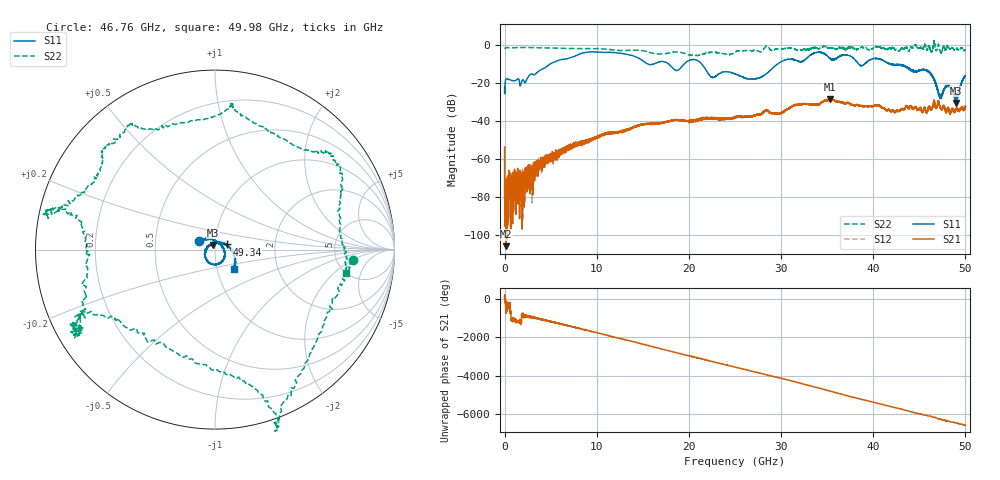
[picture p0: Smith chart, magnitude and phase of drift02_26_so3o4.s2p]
!Created with skrf (http://scikit-rf.org).
# Hz S RI R 50.0
!freq ReS11 ImS11 ReS21 ImS21 ReS12 ImS12 ReS22 ImS22
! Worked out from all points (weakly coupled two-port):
!   10001 points, 300 kHz to 50 GHz, reference 50 ohm
!   highest |S21| = -28.54 dB at 35.32 GHz (marker M1); lowest = -106.1 dB at 125.3 MHz (marker M2)
!   lowest |S11| = -30.7 dB at 49.02 GHz (marker M3), VSWR 1.06, Z = 48.6 + j2.55 ohm
!   |S11| at or under -10 dB: start of sweep to 4.956 GHz; 21.38 GHz to 29.63 GHz (8.253 GHz wide, 32.4 % of centre); 41.87 GHz to end of sweep (the widest 3 of 11)
!   |S22| runs from -5.7 to 2.4 dB; largest |S21 - S12| = 0.004
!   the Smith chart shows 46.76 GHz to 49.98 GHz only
!   S11 on the Smith chart (normalised r, x): 46.76 GHz: 0.83, +0.08; 49.34 GHz: 1.14, +0.07; 49.98 GHz: 1.20, -0.27
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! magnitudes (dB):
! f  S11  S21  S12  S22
! 300 kHz  -22.4  -53.8  -59.7  -2.1
! 125.3 MHz  -18.3  -106.1  -90.6  -1.5
! 285.3 MHz  -17.9  -78.6  -85.9  -1.4
! 1.955 GHz  -18.5  -72.3  -67.2  -1.3
! 3.675 GHz  -13.9  -61.7  -60.8  -1.5
! 8.335 GHz  -4.5  -51.5  -51.3  -1.9
! 16.67 GHz  -9.1  -41.5  -41.4  -4.7
! 20.61 GHz  -7.7  -39.8  -40.0  -5.7
! 22.51 GHz  -17.1  -38.6  -39.0  -3.7
! 25 GHz  -15.3  -38.2  -38.2  -3.9
! 27.5 GHz  -17.6  -36.7  -36.6  -3.2
! 33.34 GHz  -5.0  -31.4  -31.4  -1.6
! 35.32 GHz  -7.1  -28.5  -28.8  -1.4
! 41.67 GHz  -9.7  -34.1  -34.4  -1.8
! 45.78 GHz  -13.3  -36.1  -35.8  -1.9
! 46.76 GHz  -19.9  -33.1  -32.7  -2.3
! 47.27 GHz  -27.5  -33.0  -33.0  -3.3
! 48.12 GHz  -21.5  -33.3  -33.1  -0.6
! 49.02 GHz  -30.7  -34.0  -33.8  -2.0
! 49.34 GHz  -23.0  -34.2  -34.4  -2.8
! 49.98 GHz  -16.5  -32.7  -32.6  -2.6
! 50 GHz  -16.3  -32.3  -32.9  -2.7
